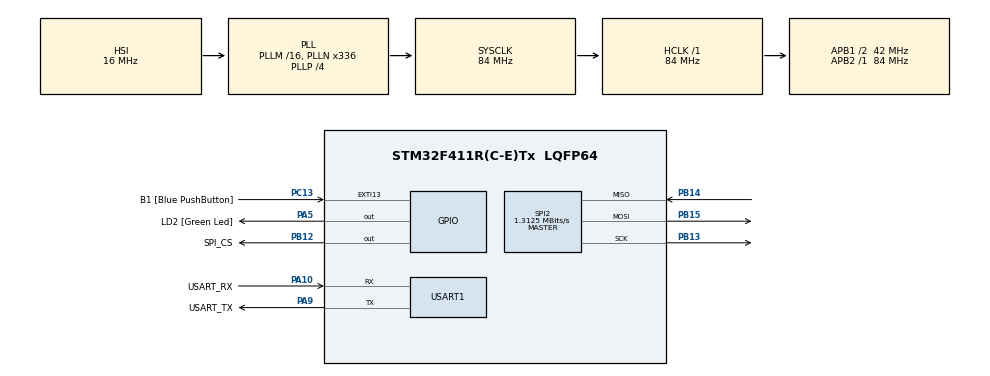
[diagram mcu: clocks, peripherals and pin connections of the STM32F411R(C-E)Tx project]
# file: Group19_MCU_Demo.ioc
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Mcu.Family=STM32F4
Mcu.Name=STM32F411R(C-E)Tx
Mcu.Package=LQFP64
NVIC.PriorityGroup=NVIC_PRIORITYGROUP_0
PA13.GPIO_Label=TMS
PA13.Mode=Serial_Wire
PA13.Signal=SYS_JTMS-SWDIO
PA14.GPIO_Label=TCK
PA14.Mode=Serial_Wire
PA14.Signal=SYS_JTCK-SWCLK
PA5.GPIO_Label=LD2 [Green Led]
PA5.PinState=GPIO_PIN_RESET
PA5.Signal=GPIO_Output
PA9.GPIO_Label=USART_TX
PA9.Mode=Asynchronous
PA9.Signal=USART1_TX
PA10.GPIO_Label=USART_RX
PA10.Mode=Asynchronous
PA10.Signal=USART1_RX
PB12.GPIO_Label=SPI_CS
PB12.PinState=GPIO_PIN_SET
PB12.Signal=GPIO_Output
PB13.Mode=Full_Duplex_Master
PB13.Signal=SPI2_SCK
PB14.Mode=Full_Duplex_Master
PB14.Signal=SPI2_MISO
PB15.Mode=Full_Duplex_Master
PB15.Signal=SPI2_MOSI
PB3.GPIO_Label=SWO
PB3.Signal=SYS_JTDO-SWO
PC13-ANTI_TAMP.GPIO_Label=B1 [Blue PushButton]
PC13-ANTI_TAMP.GPIO_ModeDefaultEXTI=GPIO_MODE_IT_FALLING
PC13-ANTI_TAMP.Signal=GPXTI13
PC14-OSC32_IN.Mode=LSE-External-Oscillator
PC14-OSC32_IN.Signal=RCC_OSC32_IN
PC15-OSC32_OUT.Mode=LSE-External-Oscillator
PC15-OSC32_OUT.Signal=RCC_OSC32_OUT
PH0\ -\ OSC_IN.Mode=HSE-External-Clock-Source
PH0\ -\ OSC_IN.Signal=RCC_OSC_IN
PH1\ -\ OSC_OUT.Mode=HSE-External-Clock-Source
PH1\ -\ OSC_OUT.Signal=RCC_OSC_OUT
ProjectManager.HeapSize=0x200
ProjectManager.StackSize=0x400
ProjectManager.TargetToolchain=STM32CubeIDE
RCC.48MHZClocksFreq_Value=84000000
RCC.AHBFreq_Value=84000000
RCC.APB1CLKDivider=RCC_HCLK_DIV2
RCC.APB1Freq_Value=42000000
RCC.APB1TimFreq_Value=84000000
RCC.APB2Freq_Value=84000000
RCC.APB2TimFreq_Value=84000000
RCC.CortexFreq_Value=84000000
RCC.FLatency-AdvancedSettings=FLASH_LATENCY_2
RCC.HCLKFreq_Value=84000000
RCC.HSE_VALUE=8000000
RCC.HSI_VALUE=16000000
RCC.PLLN=336
RCC.PLLP=RCC_PLLP_DIV4
RCC.SYSCLKFreq_VALUE=84000000
RCC.SYSCLKSource=RCC_SYSCLKSOURCE_PLLCLK
RCC.VCOOutputFreq_Value=336000000
SPI2.BaudRatePrescaler=SPI_BAUDRATEPRESCALER_32
SPI2.CalculateBaudRate=1.3125 MBits/s
SPI2.Direction=SPI_DIRECTION_2LINES
SPI2.Mode=SPI_MODE_MASTER
SPI2.VirtualType=VM_MASTER
USART1.VirtualMode=VM_ASYNC
board=NUCLEO-F411RE

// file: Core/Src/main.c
/* USER CODE BEGIN Header */
/**
  ******************************************************************************
  * @file           : main.c
  * @brief          : Main program body
  ******************************************************************************
  * @attention
  *
  * Copyright (c) 2026 STMicroelectronics.
  * All rights reserved.
  *
  * This software is licensed under terms that can be found in the LICENSE file
  * in the root directory of this software component.
  * If no LICENSE file comes with this software, it is provided AS-IS.
  *
  ******************************************************************************
  */
/* USER CODE END Header */
#include "main.h"
#include <stdio.h>
#include <stdlib.h>
#include <string.h>

/* USER CODE BEGIN PTD */
typedef struct
{
    uint8_t portStatus;
    uint8_t threatID;
    uint8_t deviceClass;
    uint8_t interfaceClass;
    uint16_t vendorID;
    uint16_t productID;
} PortStatus;

typedef struct
{
    uint8_t control;
    uint8_t status;
    uint8_t vidHigh;
    uint8_t vidLow;
    uint8_t pidHigh;
    uint8_t pidLow;
    uint8_t deviceClass;
    uint8_t interfaceClass;
} FpgaPortBlock;

/* USER CODE END PTD */

/* USER CODE BEGIN PD */
#define NUM_PORTS 4
#define FPGA_SPI_POLL_MS 200
#define FPGA_SPI_XFER_TIMEOUT_MS 5U
#define THREAT_MANUAL_HOST_KILL 7

#define FPGA_ADDR_SYS_STATUS 0x00
#define FPGA_PORT_REG_BASE(port) (0x10u + ((port) * 0x10u))

#define FPGA_CTRL_MANUAL_KILL (1u << 7)
#define FPGA_CTRL_CLEAR_FAULT (1u << 6)
#define FPGA_CTRL_APPROVE_HID (1u << 5)
#define FPGA_CTRL_POLICY_MASK 0x07u
#define FPGA_POLICY_HID_CONFIRM 0x1u

#define FPGA_STATUS_KILL_BIT 7
#define FPGA_STATUS_ATTACHED_BIT 6
#define FPGA_STATUS_HID_PENDING_BIT 4
#define FPGA_STATUS_THREAT_MASK 0x0Fu

/* USER CODE END PD */

SPI_HandleTypeDef hspi2;

UART_HandleTypeDef huart1;

/* USER CODE BEGIN PV */
PortStatus ports[NUM_PORTS];
char uartJsonRxBuffer[256];
uint16_t uartJsonRxIndex = 0;
static uint32_t led_until_ms = 0;

/* Polled UART RX ring. */
#define UART_RX_RING_SIZE 256U
static volatile uint8_t uartRxRing[UART_RX_RING_SIZE];
static volatile uint16_t uartRxHead = 0;
static volatile uint16_t uartRxTail = 0;

/* Cleared on SPI transfer failure for the current poll cycle. */
static uint8_t spi_bus_ok = 1;

/* Host confirmed HID on this port. */
static uint8_t hid_mcu_approved[NUM_PORTS];

/* USER CODE END PV */

void SystemClock_Config(void);
static void MX_GPIO_Init(void);
static void MX_USART1_UART_Init(void);
static void MX_SPI2_Init(void);
/* USER CODE BEGIN PFP */
void StatusLed_On(void);
void StatusLed_Off(void);
void StatusLed_Pulse(uint32_t ms);
void StatusLed_Service(void);
void UartRx_Start(void);
void UartRx_PushByte(uint8_t byte);
void UartRx_Poll(void);
int UartRx_Pop(uint8_t *out);
void UartTx_Recover(void);
int UartTx_Write(const uint8_t *data, uint16_t len, uint32_t timeout_ms);
void PollHostCommands(void);
void FPGA_RearmHidIfNeeded(uint8_t port, const FpgaPortBlock *data);
void USART1_IRQHandler(void);
void FPGA_SpiCsSettle(void);
HAL_StatusTypeDef FPGA_SpiRecoverIfNeeded(HAL_StatusTypeDef st);
uint8_t FPGA_SpiBusOk(void);
void FPGA_WriteRegister(uint8_t address, uint8_t data);
uint8_t FPGA_ReadRegister(uint8_t address);
void FPGA_ReadPort(uint8_t port, FpgaPortBlock *data);
uint16_t FPGA_GetVID(const FpgaPortBlock *data);
uint16_t FPGA_GetPID(const FpgaPortBlock *data);
void FPGA_ApplyPortToState(uint8_t port, const FpgaPortBlock *data);
void FPGA_PollAllPorts(void);
uint8_t FPGA_PolicyBits(uint8_t port);
void FPGA_SetPolicy(uint8_t port, uint8_t policy);
void FPGA_SetManualKill(uint8_t port, uint8_t enable);
void FPGA_ClearFault(uint8_t port);
void FPGA_ApproveHid(uint8_t port);
void FPGA_RestorePort(uint8_t port);
const char *GetPortStateString(uint8_t port);
void SendJsonTelemetry(void);
int JsonGetString(const char *json, const char *key, char *out, size_t out_len);
int JsonGetInt(const char *json, const char *key, int *out);
void ProcessJsonCommand(const char *json);

/* USER CODE END PFP */

int main(void)
{

  /* MCU Configuration--------------------------------------------------------*/

  /* Reset of all peripherals, Initializes the Flash interface and the Systick. */
  HAL_Init();

  /* Configure the system clock */
  SystemClock_Config();

  /* Initialize all configured peripherals */
  MX_GPIO_Init();
  MX_USART1_UART_Init();
  MX_SPI2_Init();
  /* USER CODE BEGIN 2 */
  memset(ports, 0, sizeof(ports));
  memset(hid_mcu_approved, 0, sizeof(hid_mcu_approved));
  StatusLed_Off();

  for (uint8_t i = 0; i < NUM_PORTS; i++)
  {
      FPGA_SetPolicy(i, FPGA_POLICY_HID_CONFIRM);
  }

  FPGA_PollAllPorts();
  UartRx_Start();
  {
      static const char boot[] = "{\"mcu\":\"uart_bm6\"}\n";
      (void)UartTx_Write((const uint8_t *)boot, (uint16_t)(sizeof(boot) - 1U),
                         200U);
  }
  StatusLed_Pulse(250);
  /* USER CODE END 2 */

  /* Infinite loop */
  /* USER CODE BEGIN WHILE */
  uint32_t lastSpiPoll = 0;

  while (1)
  {
      StatusLed_Service();
      UartRx_Poll();
      PollHostCommands();

      if ((HAL_GetTick() - lastSpiPoll) >= FPGA_SPI_POLL_MS)
      {
          lastSpiPoll = HAL_GetTick();
          StatusLed_Pulse(30);
          SendJsonTelemetry();
          FPGA_PollAllPorts();
      }
  }
  /* USER CODE END 3 */
}

void SystemClock_Config(void)
{
  RCC_OscInitTypeDef RCC_OscInitStruct = {0};
  RCC_ClkInitTypeDef RCC_ClkInitStruct = {0};

  /** Configure the main internal regulator output voltage
  */
  __HAL_RCC_PWR_CLK_ENABLE();
  __HAL_PWR_VOLTAGESCALING_CONFIG(PWR_REGULATOR_VOLTAGE_SCALE1);

  /** Initializes the RCC Oscillators according to the specified parameters
  * in the RCC_OscInitTypeDef structure.
  */
  RCC_OscInitStruct.OscillatorType = RCC_OSCILLATORTYPE_HSI;
  RCC_OscInitStruct.HSIState = RCC_HSI_ON;
  RCC_OscInitStruct.HSICalibrationValue = RCC_HSICALIBRATION_DEFAULT;
  RCC_OscInitStruct.PLL.PLLState = RCC_PLL_ON;
  RCC_OscInitStruct.PLL.PLLSource = RCC_PLLSOURCE_HSI;
  RCC_OscInitStruct.PLL.PLLM = 16;
  RCC_OscInitStruct.PLL.PLLN = 336;
  RCC_OscInitStruct.PLL.PLLP = RCC_PLLP_DIV4;
  RCC_OscInitStruct.PLL.PLLQ = 4;
  if (HAL_RCC_OscConfig(&RCC_OscInitStruct) != HAL_OK)
  {
    Error_Handler();
  }

  /** Initializes the CPU, AHB and APB buses clocks
  */
  RCC_ClkInitStruct.ClockType = RCC_CLOCKTYPE_HCLK|RCC_CLOCKTYPE_SYSCLK
                              |RCC_CLOCKTYPE_PCLK1|RCC_CLOCKTYPE_PCLK2;
  RCC_ClkInitStruct.SYSCLKSource = RCC_SYSCLKSOURCE_PLLCLK;
  RCC_ClkInitStruct.AHBCLKDivider = RCC_SYSCLK_DIV1;
  RCC_ClkInitStruct.APB1CLKDivider = RCC_HCLK_DIV2;
  RCC_ClkInitStruct.APB2CLKDivider = RCC_HCLK_DIV1;

  if (HAL_RCC_ClockConfig(&RCC_ClkInitStruct, FLASH_LATENCY_2) != HAL_OK)
  {
    Error_Handler();
  }
}

static void MX_SPI2_Init(void)
{

  hspi2.Instance = SPI2;
  hspi2.Init.Mode = SPI_MODE_MASTER;
  hspi2.Init.Direction = SPI_DIRECTION_2LINES;
  hspi2.Init.DataSize = SPI_DATASIZE_8BIT;
  hspi2.Init.CLKPolarity = SPI_POLARITY_LOW;
  hspi2.Init.CLKPhase = SPI_PHASE_1EDGE;
  hspi2.Init.NSS = SPI_NSS_SOFT;
  hspi2.Init.BaudRatePrescaler = SPI_BAUDRATEPRESCALER_32;
  hspi2.Init.FirstBit = SPI_FIRSTBIT_MSB;
  hspi2.Init.TIMode = SPI_TIMODE_DISABLE;
  hspi2.Init.CRCCalculation = SPI_CRCCALCULATION_DISABLE;
  hspi2.Init.CRCPolynomial = 10;
  if (HAL_SPI_Init(&hspi2) != HAL_OK)
  {
    Error_Handler();
  }

}

static void MX_USART1_UART_Init(void)
{

  huart1.Instance = USART1;
  huart1.Init.BaudRate = 115200;
  huart1.Init.WordLength = UART_WORDLENGTH_8B;
  huart1.Init.StopBits = UART_STOPBITS_1;
  huart1.Init.Parity = UART_PARITY_NONE;
  huart1.Init.Mode = UART_MODE_TX_RX;
  huart1.Init.HwFlowCtl = UART_HWCONTROL_NONE;
  huart1.Init.OverSampling = UART_OVERSAMPLING_16;
  if (HAL_UART_Init(&huart1) != HAL_OK)
  {
    Error_Handler();
  }

}

static void MX_GPIO_Init(void)
{
  GPIO_InitTypeDef GPIO_InitStruct = {0};

  /* GPIO Ports Clock Enable */
  __HAL_RCC_GPIOC_CLK_ENABLE();
  __HAL_RCC_GPIOH_CLK_ENABLE();
  __HAL_RCC_GPIOA_CLK_ENABLE();
  __HAL_RCC_GPIOB_CLK_ENABLE();

  /*Configure GPIO pin Output Level */
  HAL_GPIO_WritePin(SPI_CS_GPIO_Port, SPI_CS_Pin, GPIO_PIN_SET);
  HAL_GPIO_WritePin(LD2_GPIO_Port, LD2_Pin, GPIO_PIN_RESET);

  /*Configure GPIO pin : B1_Pin */
  GPIO_InitStruct.Pin = B1_Pin;
  GPIO_InitStruct.Mode = GPIO_MODE_IT_FALLING;
  GPIO_InitStruct.Pull = GPIO_NOPULL;
  HAL_GPIO_Init(B1_GPIO_Port, &GPIO_InitStruct);

  /*Configure GPIO pin : SPI_CS_Pin (PB12) */
  GPIO_InitStruct.Pin = SPI_CS_Pin;
  GPIO_InitStruct.Mode = GPIO_MODE_OUTPUT_PP;
  GPIO_InitStruct.Pull = GPIO_NOPULL;
  GPIO_InitStruct.Speed = GPIO_SPEED_FREQ_LOW;
  HAL_GPIO_Init(SPI_CS_GPIO_Port, &GPIO_InitStruct);

  GPIO_InitStruct.Pin = LD2_Pin;
  GPIO_InitStruct.Mode = GPIO_MODE_OUTPUT_PP;
  GPIO_InitStruct.Pull = GPIO_NOPULL;
  GPIO_InitStruct.Speed = GPIO_SPEED_FREQ_LOW;
  HAL_GPIO_Init(LD2_GPIO_Port, &GPIO_InitStruct);

}

/* USER CODE BEGIN 4 */

/* Reset RX ring and disable USART1 interrupts. */
void UartRx_Start(void)
{
    uartRxHead = 0;
    uartRxTail = 0;
    __HAL_UART_CLEAR_OREFLAG(&huart1);
    HAL_NVIC_DisableIRQ(USART1_IRQn);
    CLEAR_BIT(huart1.Instance->CR1, USART_CR1_RXNEIE);
    CLEAR_BIT(huart1.Instance->CR1, USART_CR1_PEIE);
    CLEAR_BIT(huart1.Instance->CR3, USART_CR3_EIE);
}

/* Push one byte into the RX ring. */
void UartRx_PushByte(uint8_t byte)
{
    uint16_t next = (uint16_t)((uartRxHead + 1U) % UART_RX_RING_SIZE);
    if (next != uartRxTail)
    {
        uartRxRing[uartRxHead] = byte;
        uartRxHead = next;
    }
}

/* Drain USART RXNE into the ring and clear overrun. */
void UartRx_Poll(void)
{
    while (__HAL_UART_GET_FLAG(&huart1, UART_FLAG_RXNE) != RESET)
    {
        UartRx_PushByte((uint8_t)(huart1.Instance->DR & 0xFFU));
    }
    if (__HAL_UART_GET_FLAG(&huart1, UART_FLAG_ORE) != RESET)
    {
        __HAL_UART_CLEAR_OREFLAG(&huart1);
    }
}

/* Clear UART errors and restore HAL/USART ready state for polled TX. */
void UartTx_Recover(void)
{
    if (__HAL_UART_GET_FLAG(&huart1, UART_FLAG_RXNE) != RESET)
    {
        UartRx_PushByte((uint8_t)(huart1.Instance->DR & 0xFFU));
    }
    __HAL_UART_CLEAR_OREFLAG(&huart1);
    __HAL_UART_CLEAR_FEFLAG(&huart1);
    __HAL_UART_CLEAR_NEFLAG(&huart1);
    __HAL_UART_CLEAR_PEFLAG(&huart1);

    huart1.gState = HAL_UART_STATE_READY;
    huart1.RxState = HAL_UART_STATE_READY;
    huart1.ErrorCode = HAL_UART_ERROR_NONE;
    huart1.Lock = HAL_UNLOCKED;

    SET_BIT(huart1.Instance->CR1, USART_CR1_UE | USART_CR1_TE | USART_CR1_RE);
    CLEAR_BIT(huart1.Instance->CR1, USART_CR1_RXNEIE);
    HAL_NVIC_DisableIRQ(USART1_IRQn);
}

/* Polled UART transmit. */
int UartTx_Write(const uint8_t *data, uint16_t len, uint32_t timeout_ms)
{
    uint32_t start;
    uint32_t spins;

    if ((data == NULL) || (len == 0U))
    {
        return 0;
    }

    UartTx_Recover();

    start = HAL_GetTick();
    for (uint16_t i = 0; i < len; i++)
    {
        spins = 0;
        while (__HAL_UART_GET_FLAG(&huart1, UART_FLAG_TXE) == RESET)
        {
            spins++;
            if (((HAL_GetTick() - start) > timeout_ms) || (spins > 200000U))
            {
                UartTx_Recover();
                return 0;
            }
            if (__HAL_UART_GET_FLAG(&huart1, UART_FLAG_RXNE) != RESET)
            {
                UartRx_PushByte((uint8_t)(huart1.Instance->DR & 0xFFU));
            }
            if (__HAL_UART_GET_FLAG(&huart1, UART_FLAG_ORE) != RESET)
            {
                __HAL_UART_CLEAR_OREFLAG(&huart1);
            }
        }
        huart1.Instance->DR = data[i];
    }

    spins = 0;
    while (__HAL_UART_GET_FLAG(&huart1, UART_FLAG_TC) == RESET)
    {
        spins++;
        if (((HAL_GetTick() - start) > timeout_ms) || (spins > 200000U))
        {
            UartTx_Recover();
            return 0;
        }
        if (__HAL_UART_GET_FLAG(&huart1, UART_FLAG_RXNE) != RESET)
        {
            UartRx_PushByte((uint8_t)(huart1.Instance->DR & 0xFFU));
        }
    }

    huart1.gState = HAL_UART_STATE_READY;
    return 1;
}

/* Pop one byte from the RX ring. */
int UartRx_Pop(uint8_t *out)
{
    uint16_t tail;
    uint16_t head;

    if (out == NULL)
    {
        return 0;
    }

    tail = uartRxTail;
    head = uartRxHead;
    if (tail == head)
    {
        return 0;
    }

    *out = uartRxRing[tail];
    uartRxTail = (uint16_t)((tail + 1U) % UART_RX_RING_SIZE);
    return 1;
}

/* USART1 ISR. */
void USART1_IRQHandler(void)
{
    if (__HAL_UART_GET_FLAG(&huart1, UART_FLAG_ORE))
    {
        volatile uint32_t sr = huart1.Instance->SR;
        volatile uint32_t dr = huart1.Instance->DR;
        (void)sr;
        (void)dr;
    }

    if (__HAL_UART_GET_FLAG(&huart1, UART_FLAG_RXNE))
    {
        uint8_t byte = (uint8_t)(huart1.Instance->DR & 0xFFU);
        uint16_t next = (uint16_t)((uartRxHead + 1U) % UART_RX_RING_SIZE);
        if (next != uartRxTail)
        {
            uartRxRing[uartRxHead] = byte;
            uartRxHead = next;
        }
    }

    if (__HAL_UART_GET_FLAG(&huart1, UART_FLAG_FE) ||
        __HAL_UART_GET_FLAG(&huart1, UART_FLAG_NE) ||
        __HAL_UART_GET_FLAG(&huart1, UART_FLAG_PE))
    {
        __HAL_UART_CLEAR_FEFLAG(&huart1);
        __HAL_UART_CLEAR_NEFLAG(&huart1);
        __HAL_UART_CLEAR_PEFLAG(&huart1);
        volatile uint32_t dr = huart1.Instance->DR;
        (void)dr;
    }
}

/* Assemble JSON commands from the RX ring. */
void PollHostCommands(void)
{
    uint8_t c;

    while (UartRx_Pop(&c))
    {
        if (c == '\r')
        {
            continue;
        }
        if (c == '\n')
        {
            if (uartJsonRxIndex > 0U)
            {
                uartJsonRxBuffer[uartJsonRxIndex] = '\0';
                ProcessJsonCommand(uartJsonRxBuffer);
                uartJsonRxIndex = 0;
            }
            continue;
        }
        if ((uartJsonRxIndex + 1U) < sizeof(uartJsonRxBuffer))
        {
            uartJsonRxBuffer[uartJsonRxIndex++] = (char)c;
        }
        else
        {
            uartJsonRxIndex = 0;
        }
    }
}

/* Turn LD2 on. */
void StatusLed_On(void)
{
    HAL_GPIO_WritePin(LD2_GPIO_Port, LD2_Pin, GPIO_PIN_SET);
}

/* Turn LD2 off. */
void StatusLed_Off(void)
{
    HAL_GPIO_WritePin(LD2_GPIO_Port, LD2_Pin, GPIO_PIN_RESET);
}

/* Pulse LD2. */
void StatusLed_Pulse(uint32_t ms)
{
    StatusLed_On();
    led_until_ms = HAL_GetTick() + ms;
}

/* Expire a pending LED pulse. */
void StatusLed_Service(void)
{
    if ((led_until_ms != 0U) &&
        ((int32_t)(HAL_GetTick() - led_until_ms) >= 0))
    {
        StatusLed_Off();
        led_until_ms = 0U;
    }
}

/* Short wait for SPI chip-select. */
void FPGA_SpiCsSettle(void)
{
    for (volatile uint32_t i = 0; i < 50U; i++)
    {
    }
}

/* On SPI error mark bus bad, deassert CS, and reset the SPI peripheral. */
HAL_StatusTypeDef FPGA_SpiRecoverIfNeeded(HAL_StatusTypeDef st)
{
    if (st == HAL_OK)
    {
        return st;
    }
    spi_bus_ok = 0;
    HAL_GPIO_WritePin(SPI_CS_GPIO_Port, SPI_CS_Pin, GPIO_PIN_SET);
    CLEAR_BIT(hspi2.Instance->CR1, SPI_CR1_SPE);
    if (__HAL_SPI_GET_FLAG(&hspi2, SPI_FLAG_RXNE) != RESET)
    {
        volatile uint32_t drain = hspi2.Instance->DR;
        (void)drain;
    }
    __HAL_SPI_CLEAR_OVRFLAG(&hspi2);
    SET_BIT(hspi2.Instance->CR1, SPI_CR1_SPE);
    hspi2.State = HAL_SPI_STATE_READY;
    hspi2.ErrorCode = HAL_SPI_ERROR_NONE;
    return st;
}

/* Return 1 if the current SPI poll cycle is still healthy. */
uint8_t FPGA_SpiBusOk(void)
{
    return spi_bus_ok;
}

/* Write one FPGA register. */
void FPGA_WriteRegister(uint8_t address, uint8_t data)
{
    uint8_t txData[2];

    if (!spi_bus_ok)
    {
        return;
    }

    txData[0] = (uint8_t)(0x80u | (address & 0x7Fu));
    txData[1] = data;

    HAL_GPIO_WritePin(SPI_CS_GPIO_Port, SPI_CS_Pin, GPIO_PIN_RESET);
    FPGA_SpiCsSettle();
    (void)FPGA_SpiRecoverIfNeeded(
        HAL_SPI_Transmit(&hspi2, txData, 2, FPGA_SPI_XFER_TIMEOUT_MS));
    HAL_GPIO_WritePin(SPI_CS_GPIO_Port, SPI_CS_Pin, GPIO_PIN_SET);
    FPGA_SpiCsSettle();
}

/* Read one FPGA register. */
uint8_t FPGA_ReadRegister(uint8_t address)
{
    uint8_t txData[2];
    uint8_t rxData[2] = {0};

    if (!spi_bus_ok)
    {
        return 0;
    }

    txData[0] = (uint8_t)(address & 0x7Fu);
    txData[1] = 0x00;

    HAL_GPIO_WritePin(SPI_CS_GPIO_Port, SPI_CS_Pin, GPIO_PIN_RESET);
    FPGA_SpiCsSettle();
    (void)FPGA_SpiRecoverIfNeeded(HAL_SPI_TransmitReceive(
        &hspi2, txData, rxData, 2, FPGA_SPI_XFER_TIMEOUT_MS));
    HAL_GPIO_WritePin(SPI_CS_GPIO_Port, SPI_CS_Pin, GPIO_PIN_SET);
    FPGA_SpiCsSettle();

    return rxData[1];
}

/* Read the eight-byte control/status/descriptor block for one port. */
void FPGA_ReadPort(uint8_t port, FpgaPortBlock *data)
{
    if ((port >= NUM_PORTS) || (data == NULL) || !spi_bus_ok)
    {
        return;
    }

    uint8_t base = (uint8_t)FPGA_PORT_REG_BASE(port);

    data->control = FPGA_ReadRegister((uint8_t)(base + 0x00));
    if (!spi_bus_ok)
    {
        return;
    }
    data->status = FPGA_ReadRegister((uint8_t)(base + 0x01));
    data->vidHigh = FPGA_ReadRegister((uint8_t)(base + 0x02));
    data->vidLow = FPGA_ReadRegister((uint8_t)(base + 0x03));
    data->pidHigh = FPGA_ReadRegister((uint8_t)(base + 0x04));
    data->pidLow = FPGA_ReadRegister((uint8_t)(base + 0x05));
    data->deviceClass = FPGA_ReadRegister((uint8_t)(base + 0x06));
    data->interfaceClass = FPGA_ReadRegister((uint8_t)(base + 0x07));
}

/* Combine VID high/low bytes from a port block. */
uint16_t FPGA_GetVID(const FpgaPortBlock *data)
{
    if (data == NULL)
    {
        return 0;
    }
    return (uint16_t)(((uint16_t)data->vidHigh << 8) | data->vidLow);
}

/* Combine PID high/low bytes from a port block. */
uint16_t FPGA_GetPID(const FpgaPortBlock *data)
{
    if (data == NULL)
    {
        return 0;
    }
    return (uint16_t)(((uint16_t)data->pidHigh << 8) | data->pidLow);
}

/* Pulse kill if HID is live without MCU confirm, re-arming pending hold. */
void FPGA_RearmHidIfNeeded(uint8_t port, const FpgaPortBlock *data)
{
    uint8_t attached;
    uint8_t killed;
    uint8_t hid_pending;

    if ((port >= NUM_PORTS) || (data == NULL))
    {
        return;
    }

    attached = (uint8_t)((data->status >> FPGA_STATUS_ATTACHED_BIT) & 0x01u);
    killed = (uint8_t)((data->status >> FPGA_STATUS_KILL_BIT) & 0x01u);
    hid_pending =
        (uint8_t)((data->status >> FPGA_STATUS_HID_PENDING_BIT) & 0x01u);

    if (!attached)
    {
        hid_mcu_approved[port] = 0;
        return;
    }

    if (!hid_mcu_approved[port] && !hid_pending && !killed &&
        (data->interfaceClass == 0x03u))
    {
        FPGA_SetManualKill(port, 1);
        FPGA_SetManualKill(port, 0);
    }
}

/* Copy one FPGA port block into the GUI-facing PortStatus cache. */
void FPGA_ApplyPortToState(uint8_t port, const FpgaPortBlock *data)
{
    if ((port >= NUM_PORTS) || (data == NULL))
    {
        return;
    }

    ports[port].portStatus = data->status;
    ports[port].threatID = (uint8_t)(data->status & FPGA_STATUS_THREAT_MASK);
    ports[port].deviceClass = data->deviceClass;
    ports[port].interfaceClass = data->interfaceClass;
    ports[port].vendorID = FPGA_GetVID(data);
    ports[port].productID = FPGA_GetPID(data);

    if (((data->status >> FPGA_STATUS_ATTACHED_BIT) & 0x01u) == 0u)
    {
        hid_mcu_approved[port] = 0;
    }
}

/* Poll all four ports over SPI; stop early if the bus fails. */
void FPGA_PollAllPorts(void)
{
    FpgaPortBlock block;

    spi_bus_ok = 1;
    (void)FPGA_ReadRegister(FPGA_ADDR_SYS_STATUS);
    for (uint8_t i = 0; i < NUM_PORTS; i++)
    {
        if (!spi_bus_ok)
        {
            break;
        }
        FPGA_ReadPort(i, &block);
        if (spi_bus_ok)
        {
            FPGA_RearmHidIfNeeded(i, &block);
            FPGA_ReadPort(i, &block);
            if (spi_bus_ok)
            {
                FPGA_ApplyPortToState(i, &block);
            }
        }
    }
}

/* Read the policy nibble from a port control register. */
uint8_t FPGA_PolicyBits(uint8_t port)
{
    if (port >= NUM_PORTS)
    {
        return 0;
    }
    return (uint8_t)(FPGA_ReadRegister((uint8_t)FPGA_PORT_REG_BASE(port)) &
                     FPGA_CTRL_POLICY_MASK);
}

/* Write HID/storage policy bits while preserving other control flags. */
void FPGA_SetPolicy(uint8_t port, uint8_t policy)
{
    if (port >= NUM_PORTS)
    {
        return;
    }

    uint8_t addr = (uint8_t)FPGA_PORT_REG_BASE(port);
    uint8_t cur = FPGA_ReadRegister(addr);
    uint8_t next = (uint8_t)((cur & (uint8_t)~FPGA_CTRL_POLICY_MASK) |
                             (policy & FPGA_CTRL_POLICY_MASK));
    FPGA_WriteRegister(addr, next);
}

/* Assert or clear manual kill on a port (policy bits preserved). */
void FPGA_SetManualKill(uint8_t port, uint8_t enable)
{
    if (port >= NUM_PORTS)
    {
        return;
    }

    uint8_t addr = (uint8_t)FPGA_PORT_REG_BASE(port);
    uint8_t policy = FPGA_PolicyBits(port);
    FPGA_WriteRegister(addr, enable ? (uint8_t)(FPGA_CTRL_MANUAL_KILL | policy)
                                    : policy);
}

/* Pulse clear_fault on a port, then restore policy-only control. */
void FPGA_ClearFault(uint8_t port)
{
    if (port >= NUM_PORTS)
    {
        return;
    }

    uint8_t addr = (uint8_t)FPGA_PORT_REG_BASE(port);
    uint8_t policy = FPGA_PolicyBits(port);
    FPGA_WriteRegister(addr, (uint8_t)(FPGA_CTRL_CLEAR_FAULT | policy));
    FPGA_WriteRegister(addr, policy);
}

/* Pulse approve_hid on a port, then restore policy-only control. */
void FPGA_ApproveHid(uint8_t port)
{
    if (port >= NUM_PORTS)
    {
        return;
    }

    uint8_t addr = (uint8_t)FPGA_PORT_REG_BASE(port);
    uint8_t policy = FPGA_PolicyBits(port);
    FPGA_WriteRegister(addr, (uint8_t)(FPGA_CTRL_APPROVE_HID | policy));
    FPGA_WriteRegister(addr, policy);
}

/* Clear manual kill and sticky fault on a port. */
void FPGA_RestorePort(uint8_t port)
{
    FPGA_SetManualKill(port, 0);
    FPGA_ClearFault(port);
}

/* Map FPGA status bits to the host-facing port state string. */
const char *GetPortStateString(uint8_t port)
{
    if (port >= NUM_PORTS)
    {
        return "DISCONNECTED";
    }

    uint8_t status = ports[port].portStatus;
    uint8_t attached = (uint8_t)((status >> FPGA_STATUS_ATTACHED_BIT) & 0x01u);
    uint8_t killed = (uint8_t)((status >> FPGA_STATUS_KILL_BIT) & 0x01u);
    uint8_t hid_pending =
        (uint8_t)((status >> FPGA_STATUS_HID_PENDING_BIT) & 0x01u);

    if (!attached)
    {
        return "DISCONNECTED";
    }
    if (hid_pending)
    {
        return "PENDING_HID_CONFIRM";
    }
    if (killed)
    {
        if (ports[port].threatID == THREAT_MANUAL_HOST_KILL)
        {
            return "MANUAL_BLOCKED";
        }
        return "QUARANTINED";
    }
    if (!hid_mcu_approved[port] &&
        (ports[port].interfaceClass == 0x03u ||
         (ports[port].vendorID == 0u && ports[port].productID == 0u)))
    {
        return "PENDING_HID_CONFIRM";
    }
    return "AUTHORIZED";
}

/* Build and send one JSON telemetry frame for all four ports. */
void SendJsonTelemetry(void)
{
    static char jsonBuffer[768];

    int len = snprintf(
        jsonBuffer,
        sizeof(jsonBuffer),
        "{\"timestamp_ms\":%lu,\"ports\":["
        "{\"port\":0,\"state\":\"%s\",\"threat_code\":%u,\"vid\":\"0x%04X\",\"pid\":\"0x%04X\",\"dev_class\":\"0x%02X\",\"int_class\":\"0x%02X\"},"
        "{\"port\":1,\"state\":\"%s\",\"threat_code\":%u,\"vid\":\"0x%04X\",\"pid\":\"0x%04X\",\"dev_class\":\"0x%02X\",\"int_class\":\"0x%02X\"},"
        "{\"port\":2,\"state\":\"%s\",\"threat_code\":%u,\"vid\":\"0x%04X\",\"pid\":\"0x%04X\",\"dev_class\":\"0x%02X\",\"int_class\":\"0x%02X\"},"
        "{\"port\":3,\"state\":\"%s\",\"threat_code\":%u,\"vid\":\"0x%04X\",\"pid\":\"0x%04X\",\"dev_class\":\"0x%02X\",\"int_class\":\"0x%02X\"}"
        "]}\n",
        (unsigned long)HAL_GetTick(),
        GetPortStateString(0), ports[0].threatID, ports[0].vendorID,
        ports[0].productID, ports[0].deviceClass, ports[0].interfaceClass,
        GetPortStateString(1), ports[1].threatID, ports[1].vendorID,
        ports[1].productID, ports[1].deviceClass, ports[1].interfaceClass,
        GetPortStateString(2), ports[2].threatID, ports[2].vendorID,
        ports[2].productID, ports[2].deviceClass, ports[2].interfaceClass,
        GetPortStateString(3), ports[3].threatID, ports[3].vendorID,
        ports[3].productID, ports[3].deviceClass, ports[3].interfaceClass);

    if (len < 0)
    {
        return;
    }
    if ((size_t)len >= sizeof(jsonBuffer))
    {
        len = (int)sizeof(jsonBuffer) - 1;
        jsonBuffer[len] = '\0';
    }
    (void)UartTx_Write((const uint8_t *)jsonBuffer, (uint16_t)len, 200U);
}

/* Extract a quoted string value for a JSON key. */
int JsonGetString(const char *json, const char *key, char *out, size_t out_len)
{
    char pattern[48];
    snprintf(pattern, sizeof(pattern), "\"%s\"", key);
    const char *p = strstr(json, pattern);
    if (p == NULL)
    {
        return 0;
    }
    p = strchr(p + strlen(pattern), ':');
    if (p == NULL)
    {
        return 0;
    }
    p++;
    while (*p == ' ' || *p == '\t')
    {
        p++;
    }
    if (*p != '"')
    {
        return 0;
    }
    p++;
    size_t i = 0;
    while (*p && *p != '"' && (i + 1U) < out_len)
    {
        out[i++] = *p++;
    }
    out[i] = '\0';
    return i > 0U;
}

/* Extract an integer value for a JSON key. */
int JsonGetInt(const char *json, const char *key, int *out)
{
    char pattern[48];
    snprintf(pattern, sizeof(pattern), "\"%s\"", key);
    const char *p = strstr(json, pattern);
    if (p == NULL)
    {
        return 0;
    }
    p = strchr(p + strlen(pattern), ':');
    if (p == NULL)
    {
        return 0;
    }
    p++;
    while (*p == ' ' || *p == '\t')
    {
        p++;
    }
    char *end = NULL;
    long v = strtol(p, &end, 10);
    if (end == p)
    {
        return 0;
    }
    *out = (int)v;
    return 1;
}

/* Handle host commands: isolate, restore, clear_fault, confirm_hid. */
void ProcessJsonCommand(const char *json)
{
    char type_buf[16] = {0};
    char cmd_buf[32] = {0};
    int port_id = -1;

    if (JsonGetString(json, "type", type_buf, sizeof(type_buf)))
    {
        if (strcmp(type_buf, "command") != 0)
        {
            return;
        }
    }
    if (!JsonGetString(json, "cmd", cmd_buf, sizeof(cmd_buf)))
    {
        return;
    }
    if (!JsonGetInt(json, "port", &port_id) || port_id < 0 ||
        port_id >= NUM_PORTS)
    {
        return;
    }

    if (strcmp(cmd_buf, "isolate_port") == 0)
    {
        hid_mcu_approved[port_id] = 0;
        FPGA_SetManualKill((uint8_t)port_id, 1);
        StatusLed_Pulse(120);
    }
    else if (strcmp(cmd_buf, "restore_port") == 0)
    {
        hid_mcu_approved[port_id] = 0;
        FPGA_RestorePort((uint8_t)port_id);
        StatusLed_Pulse(120);
    }
    else if (strcmp(cmd_buf, "clear_fault") == 0)
    {
        FPGA_ClearFault((uint8_t)port_id);
        StatusLed_Pulse(120);
    }
    else if (strcmp(cmd_buf, "confirm_hid") == 0)
    {
        hid_mcu_approved[port_id] = 1;
        FPGA_ApproveHid((uint8_t)port_id);
        StatusLed_Pulse(120);
    }
}

/* USER CODE END 4 */

void Error_Handler(void)
{
  __disable_irq();
  while (1)
  {
  }
}
